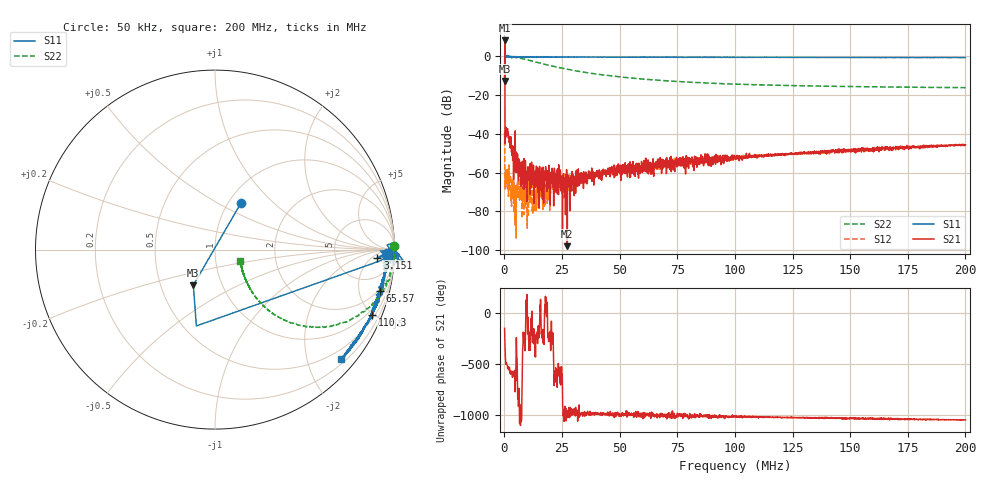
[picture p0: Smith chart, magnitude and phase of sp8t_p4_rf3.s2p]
! 26-Feb-26 11:52:08 AM
! E:\VNA_MEASUREMENTS\SP8T\SP8T_P4_RF3.S2P
! CHANNEL.1
! TR.MEASUREMENT
! CORRECTED.DATA
# GHZ S RI R 50.0
! FREQ.GHZ  S11RE  S11IM  S21RE  S21IM  S12RE  S12IM  S22RE  S22IM
!; PortSelection: Port_12
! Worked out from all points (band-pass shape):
!   2000 points, 50 kHz to 200 MHz, reference 50 ohm
!   highest |S21| = 8.22 dB at 150 kHz (marker M1); lowest = -98.0 dB at 27.26 MHz (marker M2)
!   |S21| within 3 dB of the highest: 136.2 kHz to 155.6 kHz (19.46 kHz wide, 13.3 % of centre)
!   lowest |S11| = -12.7 dB at 150 kHz (marker M3), VSWR 1.60, Z = 36.5 - j15.3 ohm
!   |S11| at or under -10 dB: start of sweep to 198.9 kHz
!   |S22| runs from -16.2 to 0.0 dB; largest |S21 - S12| = 2.6
!   S11 on the Smith chart (normalised r, x): 50 kHz: 1.14, +0.64; 3.151 MHz: 16, -8; 65.57 MHz: 1.75, -7.70; 110.3 MHz: 0.68, -4.90; 200 MHz: 0.30, -2.64
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5e-05  0.1435 0.2573  -0.178 -0.1164  -0.00781 -0.00802  0.9947 0.0186
0.000150025  -0.1207 -0.198  -0.8558 2.429  0.000313 0.000963  0.9979 0.00295
0.001150275  1.024 -0.0372  -0.0103 -0.00653  -0.00084 -0.000855  0.9877 -0.0668
0.0012503  0.9891 0.0173  -0.011 -0.0058  0.000266 0.000258  1 -0.0841
0.003150775  0.9044 -0.0467  -0.00342 0.00276  -0.000109 0.000286  0.9486 -0.1897
0.004051001  0.9602 -0.0799  -0.000902 0.00175  -0.000175 -0.000335  0.9245 -0.231
0.008952226  0.9646 -0.0361  -0.000424 0.000476  -0.000237 -0.000301  0.7414 -0.3986
0.0116529  0.9631 -0.0637  -0.000368 -0.000151  0.000101 -0.000115  0.6348 -0.4269
0.01545385  0.9646 -0.0683  0.00014 0.000976  -0.000224 0.000235  0.5132 -0.4298
0.01755438  0.9468 -0.0818  5.79e-05 0.000936  -0.00013 -6.59e-05  0.4603 -0.4181
0.0208552  0.9508 -0.0724  -0.000452 6.21e-05  -0.000236 0.000306  0.3942 -0.3976
0.0232558  0.952 -0.0933  -0.000288 0.000753  8.87e-05 0.000778  0.357 -0.3774
0.02545635  0.9466 -0.094  0.000224 0.000726  -5.61e-05 0.000286  0.3286 -0.3604
0.0272568  0.9477 -0.0937  8e-07 1.25e-05  -0.000191 0.000584  0.3091 -0.3472
0.03345835  0.9454 -0.114  -0.000173 0.000561  -0.000138 0.000771  0.2598 -0.3028
0.06556638  0.9177 -0.2303  0.00038 0.0015  0.000198 0.0015  0.1724 -0.1736
0.06676668  0.9265 -0.2269  0.000453 0.00178  4.44e-05 0.00154  0.1723 -0.1701
0.100075  0.8878 -0.3342  0.000964 0.0023  0.00111 0.00239  0.1526 -0.117
0.1102776  0.8749 -0.3653  0.00151 0.00212  0.00121 0.00247  0.1498 -0.1065
0.1333833  0.8339 -0.4287  0.0018 0.00265  0.00178 0.00266  0.1468 -0.0904
0.1666917  0.7735 -0.5267  0.00301 0.00295  0.00281 0.00323  0.1443 -0.0745
0.2  0.7007 -0.6095  0.00421 0.00295  0.0045 0.00277  0.1418 -0.0631
